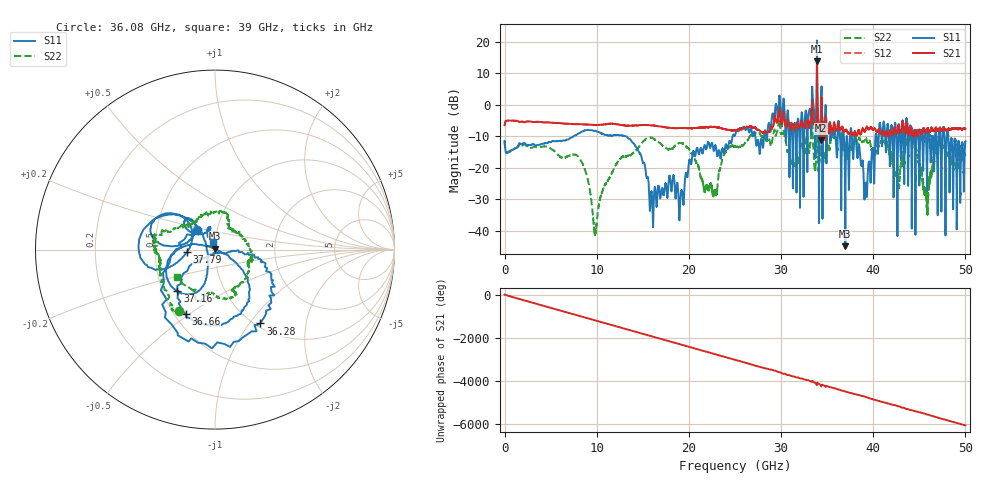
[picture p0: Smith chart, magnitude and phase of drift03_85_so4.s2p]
!Created with skrf (http://scikit-rf.org).
# Hz S RI R 50.0
!freq ReS11 ImS11 ReS21 ImS21 ReS12 ImS12 ReS22 ImS22
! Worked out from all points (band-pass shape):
!   10001 points, 300 kHz to 50 GHz, reference 50 ohm
!   highest |S21| = 13.82 dB at 33.9 GHz (marker M1); lowest = -11.3 dB at 34.32 GHz (marker M2)
!   |S21| within 3 dB of the highest: 33.89033 GHz to 33.90395 GHz (13.62 MHz wide, 0.0402 % of centre)
!   lowest |S11| = -45.0 dB at 36.97 GHz (marker M3), VSWR 1.01, Z = 49.8 + j0.528 ohm
!   |S11| at or under -10 dB: start of sweep to 7.491 GHz; 13.13 GHz to 24.74 GHz (11.61 GHz wide, 61.3 % of centre); 38.09 GHz to 40.25 GHz (2.155 GHz wide, 5.5 % of centre) (the widest 3 of 55)
!   |S22| runs from -41.3 to 6.3 dB; largest |S21 - S12| = 0.36
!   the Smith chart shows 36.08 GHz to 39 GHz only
!   S11 on the Smith chart (normalised r, x): 36.08 GHz: 0.80, +0.18; 36.28 GHz: 1.05, -1.13; 36.66 GHz: 0.57, -0.48; 37.16 GHz: 0.59, -0.31; 37.79 GHz: 0.73, -0.02; 39 GHz: 0.98, +0.08
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300000  -0.2369 -0.1209  0.4659 0.0804  0.4659 0.0793  -0.2341 -0.1248
1.440291e9  0.21 0.0651  -0.548 -0.03  -0.5482 -0.0297  0.2113 -0.00364
2.915283e9  -0.2123 -0.0881  0.5345 0.0522  0.5347 0.0517  -0.202 0.0399
8.33525e9  0.2889 -0.2324  0.1451 0.4665  0.145 0.4671  -0.0723 -0.1021
9.835241e9  -0.3659 0.122  -0.1376 -0.4564  -0.137 -0.456  0.00873 0.00237
1.66702e10  0.0269 0.0436  -0.3798 0.2521  -0.3803 0.2514  -0.1286 -0.2215
2.500015e10  -0.3255 -0.0162  -0.2532 -0.2995  -0.252 -0.3007  -0.2121 0.0251
2.895513e10  -0.3271 0.4301  -0.2907 0.324  -0.3015 0.2877  0.0628 0.2219
3.006512e10  0.4007 0.269  0.4521 -0.1929  0.4563 -0.1791  0.1796 -0.2962
3.171011e10  -0.0916 0.1876  -0.3654 0.3538  -0.3675 0.3531  0.0646 0.1582
3.33351e10  0.6605 -0.816  0.2671 -0.8553  0.2688 -0.8345  -0.1877 -0.4327
3.38951e10  -2.273 -10.24  -4.863 0.6863  -4.575 0.9006  0.4566 2.017
3.432009e10  -0.7772 -0.00295  -0.1837 0.1997  -0.2454 0.1785  0.1457 -0.0735
3.607508e10  -0.1015 0.1072  0.2743 -0.3065  0.2812 -0.3011  -0.2029 -0.3432
3.628008e10  0.2524 -0.4113  0.1592 -0.4067  0.1621 -0.3938  -0.3002 -0.1587
3.665508e10  -0.1643 -0.359  -0.2295 -0.3715  -0.2384 -0.3804  -0.2653 0.1028
3.697008e10  -0.00195 0.0053  -0.3774 -0.1072  -0.3746 -0.1105  0.00124 0.2087
3.715508e10  -0.2096 -0.2326  -0.3846 -0.0122  -0.3761 -0.0105  0.0798 0.1284
3.778507e10  -0.1567 -0.0151  -0.0837 0.313  -0.0812 0.3118  0.1549 -0.1763
3.900007e10  -0.0107 0.0411  0.3411 -0.1691  0.3412 -0.1718  -0.2102 -0.1533
4.167005e10  -0.2034 0.3026  0.3145 0.00623  0.3166 0.0129  -0.198 -0.0079
5e10  -0.1204 -0.2333  0.1382 0.3886  0.1355 0.385  -0.0527 -0.1454
